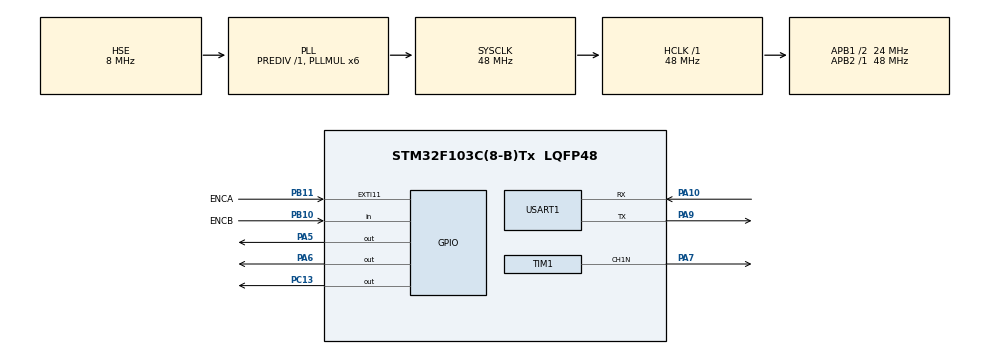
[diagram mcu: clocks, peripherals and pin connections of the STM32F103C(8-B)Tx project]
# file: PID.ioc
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Mcu.Family=STM32F1
Mcu.Name=STM32F103C(8-B)Tx
Mcu.Package=LQFP48
NVIC.PriorityGroup=NVIC_PRIORITYGROUP_4
NVIC.USART1_IRQn=true\:0\:0\:false\:false\:true\:true\:true
PA10.GPIO_PuPd=GPIO_PULLUP
PA10.Mode=Asynchronous
PA10.Signal=USART1_RX
PA13.Mode=Serial_Wire
PA13.Signal=SYS_JTMS-SWDIO
PA14.Mode=Serial_Wire
PA14.Signal=SYS_JTCK-SWCLK
PA5.Signal=GPIO_Output
PA6.Signal=GPIO_Output
PA7.Mode=PWM Generation1 CH1N
PA7.Signal=TIM1_CH1N
PA9.Mode=Asynchronous
PA9.Signal=USART1_TX
PB10.GPIO_Label=ENCB
PB10.GPIO_PuPd=GPIO_PULLUP
PB10.Signal=GPIO_Input
PB11.GPIO_Label=ENCA
PB11.GPIO_ModeDefaultEXTI=GPIO_MODE_IT_FALLING
PB11.GPIO_PuPd=GPIO_PULLUP
PB11.Signal=GPXTI11
PC13-TAMPER-RTC.Signal=GPIO_Output
PD0-OSC_IN.Mode=HSE-External-Oscillator
PD0-OSC_IN.Signal=RCC_OSC_IN
PD1-OSC_OUT.Mode=HSE-External-Oscillator
PD1-OSC_OUT.Signal=RCC_OSC_OUT
ProjectManager.HeapSize=0x200
ProjectManager.StackSize=0x400
ProjectManager.TargetToolchain=STM32CubeIDE
RCC.AHBFreq_Value=48000000
RCC.APB1CLKDivider=RCC_HCLK_DIV2
RCC.APB1Freq_Value=24000000
RCC.APB1TimFreq_Value=48000000
RCC.APB2Freq_Value=48000000
RCC.APB2TimFreq_Value=48000000
RCC.HCLKFreq_Value=48000000
RCC.PLLMUL=RCC_PLL_MUL6
RCC.PLLSourceVirtual=RCC_PLLSOURCE_HSE
RCC.SYSCLKFreq_VALUE=48000000
RCC.SYSCLKSource=RCC_SYSCLKSOURCE_PLLCLK
RCC.USBFreq_Value=48000000
TIM1.Channel-PWM\ Generation1\ CH1N=TIM_CHANNEL_1
TIM1.Period=999
TIM1.Prescaler=3
USART1.VirtualMode=VM_ASYNC
VP_TIM1_VS_ClockSourceINT.Mode=Internal
board=custom

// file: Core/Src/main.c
/* USER CODE BEGIN Header */
/**
  ******************************************************************************
  * @file           : main.c
  * @brief          : Main program body
  ******************************************************************************
  * @attention
  *
  * <h2><center>&copy; Copyright (c) 2023 STMicroelectronics.
  * All rights reserved.</center></h2>
  *
  * This software component is licensed by ST under BSD 3-Clause license,
  * the "License"; You may not use this file except in compliance with the
  * License. You may obtain a copy of the License at:
  *                        opensource.org/licenses/BSD-3-Clause
  *
  ******************************************************************************
  */
/* USER CODE END Header */
#include "main.h"

/* USER CODE BEGIN Includes */
#include "FLASH_PAGE_F1.h"
#include "stdlib.h"
/* USER CODE END Includes */

/* USER CODE BEGIN PTD */
uint8_t data[28] = "";
const unsigned int KPAdd = 0x0801F810;
const unsigned int KIAdd = 0x0801F814;
const unsigned int KDAdd = 0x0801F818;
float kpU;
float kiU;
float kdU;

_Bool setRe = 0;
/* USER CODE END PTD */

TIM_HandleTypeDef htim1;

UART_HandleTypeDef huart1;

void SystemClock_Config(void);
static void MX_GPIO_Init(void);
static void MX_USART1_UART_Init(void);
static void MX_TIM1_Init(void);
/* USER CODE BEGIN PFP */
void afterInterrupt(void);
/* USER CODE END PFP */

int main(void)
{

  /* MCU Configuration--------------------------------------------------------*/

  /* Reset of all peripherals, Initializes the Flash interface and the Systick. */
  HAL_Init();

  /* Configure the system clock */
  SystemClock_Config();

  /* Initialize all configured peripherals */
  MX_GPIO_Init();
  MX_USART1_UART_Init();
  MX_TIM1_Init();
  /* USER CODE BEGIN 2 */
  HAL_UART_Receive_IT(&huart1, data, 27);
  kpU = Flash_Read_NUM(KPAdd);
  //char tempe[9];
  //Flash_Read_Data(KPAdd,tempe, 9);
  kiU = Flash_Read_NUM(KIAdd);
  kdU = Flash_Read_NUM(KDAdd);
  setRe = 0;
  //float t = 123.432;
  //Flash_Write_NUM(KPAdd, t);
  /* USER CODE END 2 */

  /* Infinite loop */
  /* USER CODE BEGIN WHILE */

  while (1)
  {
	  if(setRe == 1){
	  		  afterInterrupt();
	  	 }
    /* USER CODE END WHILE */

  }
}

void SystemClock_Config(void)
{
  RCC_OscInitTypeDef RCC_OscInitStruct = {0};
  RCC_ClkInitTypeDef RCC_ClkInitStruct = {0};

  /** Initializes the RCC Oscillators according to the specified parameters
  * in the RCC_OscInitTypeDef structure.
  */
  RCC_OscInitStruct.OscillatorType = RCC_OSCILLATORTYPE_HSE;
  RCC_OscInitStruct.HSEState = RCC_HSE_ON;
  RCC_OscInitStruct.HSEPredivValue = RCC_HSE_PREDIV_DIV1;
  RCC_OscInitStruct.HSIState = RCC_HSI_ON;
  RCC_OscInitStruct.PLL.PLLState = RCC_PLL_ON;
  RCC_OscInitStruct.PLL.PLLSource = RCC_PLLSOURCE_HSE;
  RCC_OscInitStruct.PLL.PLLMUL = RCC_PLL_MUL6;
  if (HAL_RCC_OscConfig(&RCC_OscInitStruct) != HAL_OK)
  {
    Error_Handler();
  }
  /** Initializes the CPU, AHB and APB buses clocks
  */
  RCC_ClkInitStruct.ClockType = RCC_CLOCKTYPE_HCLK|RCC_CLOCKTYPE_SYSCLK
                              |RCC_CLOCKTYPE_PCLK1|RCC_CLOCKTYPE_PCLK2;
  RCC_ClkInitStruct.SYSCLKSource = RCC_SYSCLKSOURCE_PLLCLK;
  RCC_ClkInitStruct.AHBCLKDivider = RCC_SYSCLK_DIV1;
  RCC_ClkInitStruct.APB1CLKDivider = RCC_HCLK_DIV2;
  RCC_ClkInitStruct.APB2CLKDivider = RCC_HCLK_DIV1;

  if (HAL_RCC_ClockConfig(&RCC_ClkInitStruct, FLASH_LATENCY_1) != HAL_OK)
  {
    Error_Handler();
  }
}

static void MX_TIM1_Init(void)
{

  TIM_ClockConfigTypeDef sClockSourceConfig = {0};
  TIM_MasterConfigTypeDef sMasterConfig = {0};
  TIM_OC_InitTypeDef sConfigOC = {0};
  TIM_BreakDeadTimeConfigTypeDef sBreakDeadTimeConfig = {0};

  htim1.Instance = TIM1;
  htim1.Init.Prescaler = 3;
  htim1.Init.CounterMode = TIM_COUNTERMODE_UP;
  htim1.Init.Period = 999;
  htim1.Init.ClockDivision = TIM_CLOCKDIVISION_DIV1;
  htim1.Init.RepetitionCounter = 0;
  htim1.Init.AutoReloadPreload = TIM_AUTORELOAD_PRELOAD_DISABLE;
  if (HAL_TIM_Base_Init(&htim1) != HAL_OK)
  {
    Error_Handler();
  }
  sClockSourceConfig.ClockSource = TIM_CLOCKSOURCE_INTERNAL;
  if (HAL_TIM_ConfigClockSource(&htim1, &sClockSourceConfig) != HAL_OK)
  {
    Error_Handler();
  }
  if (HAL_TIM_PWM_Init(&htim1) != HAL_OK)
  {
    Error_Handler();
  }
  sMasterConfig.MasterOutputTrigger = TIM_TRGO_RESET;
  sMasterConfig.MasterSlaveMode = TIM_MASTERSLAVEMODE_DISABLE;
  if (HAL_TIMEx_MasterConfigSynchronization(&htim1, &sMasterConfig) != HAL_OK)
  {
    Error_Handler();
  }
  sConfigOC.OCMode = TIM_OCMODE_PWM1;
  sConfigOC.Pulse = 0;
  sConfigOC.OCPolarity = TIM_OCPOLARITY_HIGH;
  sConfigOC.OCNPolarity = TIM_OCNPOLARITY_HIGH;
  sConfigOC.OCFastMode = TIM_OCFAST_DISABLE;
  sConfigOC.OCIdleState = TIM_OCIDLESTATE_RESET;
  sConfigOC.OCNIdleState = TIM_OCNIDLESTATE_RESET;
  if (HAL_TIM_PWM_ConfigChannel(&htim1, &sConfigOC, TIM_CHANNEL_1) != HAL_OK)
  {
    Error_Handler();
  }
  sBreakDeadTimeConfig.OffStateRunMode = TIM_OSSR_DISABLE;
  sBreakDeadTimeConfig.OffStateIDLEMode = TIM_OSSI_DISABLE;
  sBreakDeadTimeConfig.LockLevel = TIM_LOCKLEVEL_OFF;
  sBreakDeadTimeConfig.DeadTime = 0;
  sBreakDeadTimeConfig.BreakState = TIM_BREAK_DISABLE;
  sBreakDeadTimeConfig.BreakPolarity = TIM_BREAKPOLARITY_HIGH;
  sBreakDeadTimeConfig.AutomaticOutput = TIM_AUTOMATICOUTPUT_DISABLE;
  if (HAL_TIMEx_ConfigBreakDeadTime(&htim1, &sBreakDeadTimeConfig) != HAL_OK)
  {
    Error_Handler();
  }
  HAL_TIM_MspPostInit(&htim1);

}

static void MX_USART1_UART_Init(void)
{

  huart1.Instance = USART1;
  huart1.Init.BaudRate = 115200;
  huart1.Init.WordLength = UART_WORDLENGTH_8B;
  huart1.Init.StopBits = UART_STOPBITS_1;
  huart1.Init.Parity = UART_PARITY_NONE;
  huart1.Init.Mode = UART_MODE_TX_RX;
  huart1.Init.HwFlowCtl = UART_HWCONTROL_NONE;
  huart1.Init.OverSampling = UART_OVERSAMPLING_16;
  if (HAL_UART_Init(&huart1) != HAL_OK)
  {
    Error_Handler();
  }

}

static void MX_GPIO_Init(void)
{
  GPIO_InitTypeDef GPIO_InitStruct = {0};

  /* GPIO Ports Clock Enable */
  __HAL_RCC_GPIOC_CLK_ENABLE();
  __HAL_RCC_GPIOD_CLK_ENABLE();
  __HAL_RCC_GPIOA_CLK_ENABLE();
  __HAL_RCC_GPIOB_CLK_ENABLE();

  /*Configure GPIO pin Output Level */
  HAL_GPIO_WritePin(GPIOC, GPIO_PIN_13, GPIO_PIN_RESET);

  /*Configure GPIO pin Output Level */
  HAL_GPIO_WritePin(GPIOA, GPIO_PIN_5|GPIO_PIN_6, GPIO_PIN_RESET);

  /*Configure GPIO pin : PC13 */
  GPIO_InitStruct.Pin = GPIO_PIN_13;
  GPIO_InitStruct.Mode = GPIO_MODE_OUTPUT_PP;
  GPIO_InitStruct.Pull = GPIO_NOPULL;
  GPIO_InitStruct.Speed = GPIO_SPEED_FREQ_LOW;
  HAL_GPIO_Init(GPIOC, &GPIO_InitStruct);

  /*Configure GPIO pins : PA5 PA6 */
  GPIO_InitStruct.Pin = GPIO_PIN_5|GPIO_PIN_6;
  GPIO_InitStruct.Mode = GPIO_MODE_OUTPUT_PP;
  GPIO_InitStruct.Pull = GPIO_NOPULL;
  GPIO_InitStruct.Speed = GPIO_SPEED_FREQ_LOW;
  HAL_GPIO_Init(GPIOA, &GPIO_InitStruct);

  /*Configure GPIO pin : ENCB_Pin */
  GPIO_InitStruct.Pin = ENCB_Pin;
  GPIO_InitStruct.Mode = GPIO_MODE_INPUT;
  GPIO_InitStruct.Pull = GPIO_PULLUP;
  HAL_GPIO_Init(ENCB_GPIO_Port, &GPIO_InitStruct);

  /*Configure GPIO pin : ENCA_Pin */
  GPIO_InitStruct.Pin = ENCA_Pin;
  GPIO_InitStruct.Mode = GPIO_MODE_IT_FALLING;
  GPIO_InitStruct.Pull = GPIO_PULLUP;
  HAL_GPIO_Init(ENCA_GPIO_Port, &GPIO_InitStruct);

}

/* USER CODE BEGIN 4 */

void afterInterrupt(void){
	char ensure = data[0];
	char ki[7] = "";
	char kd[7] = "";
	char kp[7] = "";
	int i = 2;
	int j = 0;
	char *compare = "_";
	//HAL_GPIO_TogglePin(GPIOC, GPIO_PIN_13);
		      for(i = 2; i < 9; i++){
		          if(data[i] != *compare){
		              kp[j] = data[i];
		              j++;
		          } else break;
		      }
		      j = 0;
		      for(i = 10; i < 17; i++){
		          if(data[i] != *compare){
		              ki[j] = data[i];
		              j++;
		          } else break;
		      }
		      j = 0;
		      for(i = 18; i < 26; i++){
		          if(data[i] != *compare){
		              kd[j] = data[i];
		              j++;
		          } else break;
		      }
		      float kpF = atof(kp);
		      float kiF = atof(ki);
		      float kdF = atof(kd);
		      uint32_t holding[3];
		      uint32_t hexValue;
		      memcpy(&hexValue, &kpF, sizeof(float));
		      holding[0] = hexValue;
		      memcpy(&hexValue, &kiF, sizeof(float));
		      holding[1] = hexValue;
		      memcpy(&hexValue, &kdF, sizeof(float));
		      holding[2] = hexValue;
		      //if(ensure == 't'){
		        Flash_Write_Data(KPAdd, holding, 3);
		      //}
		      setRe = 0;
		      kpU = Flash_Read_NUM(KPAdd);
		      kiU = Flash_Read_NUM(KIAdd);
		      kdU = Flash_Read_NUM(KDAdd);
		      HAL_UART_Receive_IT(&huart1, data, 27);

}
void HAL_UART_RxCpltCallback(UART_HandleTypeDef *huart)
{
// this call back just for enabling the program that will stores PID parameters (afterInterrupt)
	UNUSED(huart);
  if(huart->Instance == USART1){
	  setRe = 1;
	  HAL_GPIO_TogglePin(GPIOC, GPIO_PIN_13);
  }
}
/* USER CODE END 4 */

void Error_Handler(void)
{
  __disable_irq();
  while (1)
  {
  }
}

/************************ (C) COPYRIGHT STMicroelectronics *****END OF FILE****/
